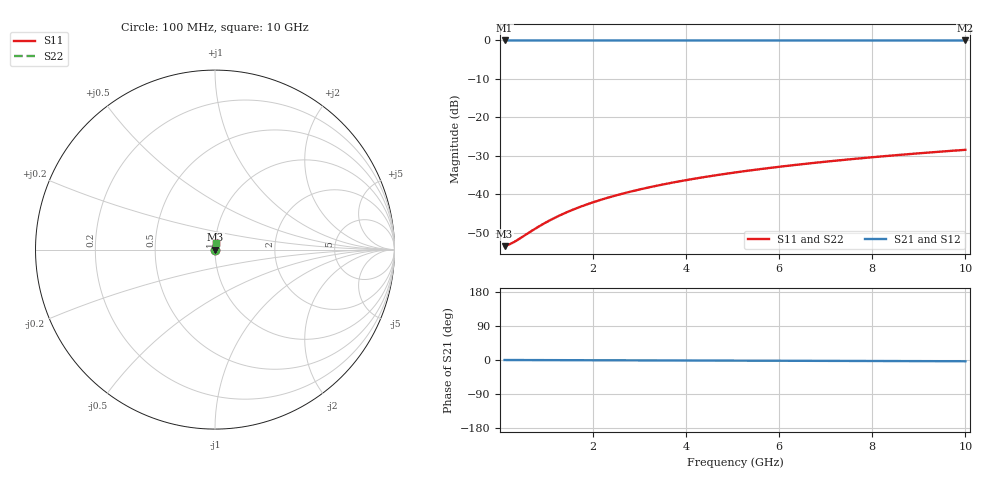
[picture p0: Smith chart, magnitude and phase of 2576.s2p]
# Hz S RI R 50.00
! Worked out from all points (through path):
!   100 points, 100 MHz to 10 GHz, reference 50 ohm
!   highest |S21| = -0.02 dB at 100 MHz (marker M1); lowest = 0.0 dB at 10 GHz (marker M2)
!   lowest |S11| = -53.5 dB at 100 MHz (marker M3), VSWR 1.00, Z = 50.2 + j0.0377 ohm
!   |S11| at or under -10 dB: start of sweep to end of sweep
!   |S22| runs from -53.5 to -28.5 dB; largest |S21 - S12| = 0
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1e8  0.00208 0.000376  0.9979 -0.000576  0.9979 -0.000576  0.00208 0.000376
2e8  0.00209 0.000751  0.9979 -0.00115  0.9979 -0.00115  0.00209 0.000751
3e8  0.0021 0.00113  0.9979 -0.00173  0.9979 -0.00173  0.0021 0.00113
4e8  0.00211 0.0015  0.9979 -0.00231  0.9979 -0.00231  0.00211 0.0015
8e8  0.00214 0.003  0.9979 -0.00461  0.9979 -0.00461  0.00214 0.003
1.1e9  0.00217 0.00413  0.9978 -0.00634  0.9978 -0.00634  0.00217 0.00413
1.4e9  0.0022 0.00526  0.9978 -0.00807  0.9978 -0.00807  0.0022 0.00526
1.6e9  0.00222 0.00601  0.9978 -0.00922  0.9978 -0.00922  0.00222 0.00601
1.8e9  0.00224 0.00676  0.9978 -0.0104  0.9978 -0.0104  0.00224 0.00676
2.1e9  0.00227 0.00789  0.9977 -0.0121  0.9977 -0.0121  0.00227 0.00789
2.5e9  0.00232 0.00939  0.9977 -0.0144  0.9977 -0.0144  0.00232 0.00939
2.9e9  0.00238 0.0109  0.9976 -0.0167  0.9976 -0.0167  0.00238 0.0109
3.4e9  0.00245 0.0128  0.9975 -0.0196  0.9975 -0.0196  0.00245 0.0128
3.8e9  0.00252 0.0143  0.9974 -0.0219  0.9974 -0.0219  0.00252 0.0143
4.2e9  0.0026 0.0158  0.9974 -0.0242  0.9974 -0.0242  0.0026 0.0158
4.6e9  0.00269 0.0173  0.9973 -0.0265  0.9973 -0.0265  0.00269 0.0173
5.1e9  0.0028 0.0191  0.9971 -0.0294  0.9971 -0.0294  0.0028 0.0191
5.9e9  0.003 0.0221  0.9969 -0.034  0.9969 -0.034  0.003 0.0221
6.7e9  0.00324 0.0251  0.9967 -0.0386  0.9967 -0.0386  0.00324 0.0251
7.5e9  0.00349 0.0281  0.9964 -0.0432  0.9964 -0.0432  0.00349 0.0281
8.4e9  0.00382 0.0315  0.996 -0.0484  0.996 -0.0484  0.00382 0.0315
1e10  0.00448 0.0375  0.9953 -0.0576  0.9953 -0.0576  0.00448 0.0375
